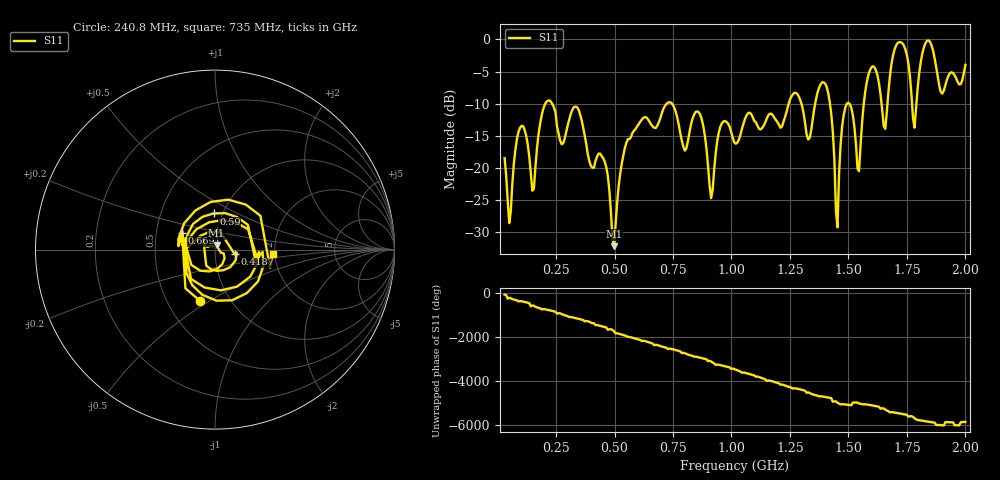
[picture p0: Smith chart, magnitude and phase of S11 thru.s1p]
# Hz S DB R 50.000000
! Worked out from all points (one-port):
!   300 points, 30 MHz to 2 GHz, reference 50 ohm
!   lowest |S11| = -32.1 dB at 497.8 MHz (marker M1), VSWR 1.05, Z = 50.8 + j2.35 ohm
!   |S11| at or under -10 dB: start of sweep to 203.7 MHz; 233.6 MHz to 722.4 MHz (488.8 MHz wide, 102 % of centre); 746.1 MHz to 1.244 GHz (498.4 MHz wide, 50.1 % of centre)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
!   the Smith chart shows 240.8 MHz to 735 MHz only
!   S11 on the Smith chart (normalised r, x): 240.8 MHz: 0.73, -0.45; 418.7 MHz: 1.25, -0.07; 590 MHz: 0.91, +0.38; 669.1 MHz: 0.68, +0.13; 735 MHz: 1.96, -0.10
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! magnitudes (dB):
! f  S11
! 30 MHz  -18.5
! 49.77 MHz  -28.6
! 95.89 MHz  -13.7
! 148.6 MHz  -23.5
! 240.8 MHz  -10.5
! 280.4 MHz  -16.2
! 418.7 MHz  -18.9
! 497.8 MHz  -32.1
! 524.1 MHz  -20.9
! 590 MHz  -13.9
! 669.1 MHz  -13.7
! 735 MHz  -9.8
! 774.5 MHz  -13.3
! 866.8 MHz  -11.7
! 912.9 MHz  -24.7
! 1.018 GHz  -16.2
! 1.262 GHz  -8.6
! 1.407 GHz  -7.4
! 1.453 GHz  -29.2
! 1.473 GHz  -13.6
! 1.512 GHz  -10.7
! 1.545 GHz  -20.5
! 1.592 GHz  -4.8
! 1.657 GHz  -13.9
! 1.756 GHz  -3.7
! 1.783 GHz  -13.7
! 1.835 GHz  -0.2
! 2 GHz  -3.9
